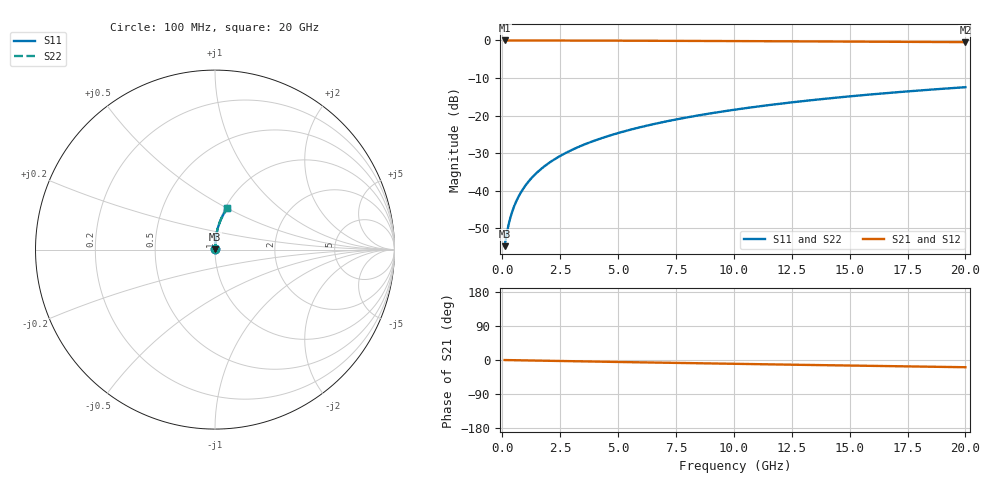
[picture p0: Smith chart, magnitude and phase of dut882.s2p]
! Touchstone file exported from HFSS 2024.1.0
!  File:  C:/UserFiles/LocalFiles/RDL_TSV_Batchsim/temp_RDL_top_882_1779856852.aedt
!  Generated:  12:43:23 PM May 27, 2026
!  Design:  RDL_top
!  Project:  temp_RDL_top_882_1779856852
!  Setup:  Setup1
!  Solution:  Sweep
! Variables:
!  dtsv = 10.80580581um
!  hbump = 3um
!  htsv = 99.55um
!  ldown = 100um
!  lrdl = 202.39um
!  p = 40
!  p1 = 55.67um
!  rhole = 1um
!  t = 450um
!  tdown = 3.915915916um
!  trdl = 3.6um
!  wdown = 15.38538539um
!  wrdl = 16.62um
# GHz S MA R 50.000000
! Terminal data exported
! Port[1] = Box2_T1
! Port[2] = Box2_T2
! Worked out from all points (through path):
!   200 points, 100 MHz to 20 GHz, reference 50 ohm
!   highest |S21| = -0.01 dB at 100 MHz (marker M1); lowest = -0.5 dB at 20 GHz (marker M2)
!   group delay of S21, straight-line fit = 2.64 ps
!   lowest |S11| = -54.7 dB at 100 MHz (marker M3), VSWR 1.00, Z = 50.1 + j0.121 ohm
!   |S11| at or under -10 dB: start of sweep to end of sweep
!   |S22| runs from -54.7 to -12.4 dB; largest |S21 - S12| = 2e-15
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0.1  0.001833 41.3  0.9986 -0.1  0.9986 -0.1  0.001833 41.3
! Gamma 0 0 0 0
! Port Impedance 50 0 50 0
0.2  0.002789 59.6  0.9986 -0.2  0.9986 -0.2  0.002789 59.6
0.3  0.003866 67.9  0.9985 -0.3  0.9985 -0.3  0.003866 67.9
0.4  0.004974 72.5  0.9985 -0.4  0.9985 -0.4  0.004974 72.5
0.5  0.006093 75.4  0.9984 -0.5  0.9984 -0.5  0.006093 75.4
0.6  0.007217 77.5  0.9984 -0.6  0.9984 -0.6  0.007217 77.5
0.8  0.009478 80.1  0.9983 -0.9  0.9983 -0.9  0.009478 80.1
1.1  0.01289 82.4  0.9981 -1.2  0.9981 -1.2  0.01289 82.4
1.5  0.01748 84.1  0.9978 -1.6  0.9978 -1.6  0.01748 84.1
1.8  0.02094 84.8  0.9975 -1.9  0.9975 -1.9  0.02094 84.8
2.1  0.02441 85.3  0.9972 -2.2  0.9972 -2.2  0.02441 85.3
2.7  0.03139 85.8  0.9965 -2.9  0.9965 -2.9  0.03139 85.8
3.5  0.04076 86.1  0.9953 -3.7  0.9953 -3.7  0.04076 86.1
4.2  0.04903 86.0  0.9941 -4.4  0.9941 -4.4  0.04903 86.0
5  0.05856 85.8  0.9925 -5.2  0.9925 -5.2  0.05856 85.8
5.9  0.06937 85.5  0.9905 -6.1  0.9905 -6.1  0.06937 85.5
6.8  0.08027 85.0  0.9883 -7.0  0.9883 -7.0  0.08027 85.0
8.3  0.09856 84.0  0.9845 -8.5  0.9845 -8.5  0.09856 84.0
10.1  0.1206 82.6  0.9796 -10.2  0.9796 -10.2  0.1206 82.6
13.4  0.1609 79.7  0.9701 -13.2  0.9701 -13.2  0.1609 79.7
16.7  0.2004 76.7  0.9598 -16.2  0.9598 -16.2  0.2004 76.7
20  0.2387 73.7  0.9489 -19.1  0.9489 -19.1  0.2387 73.7
